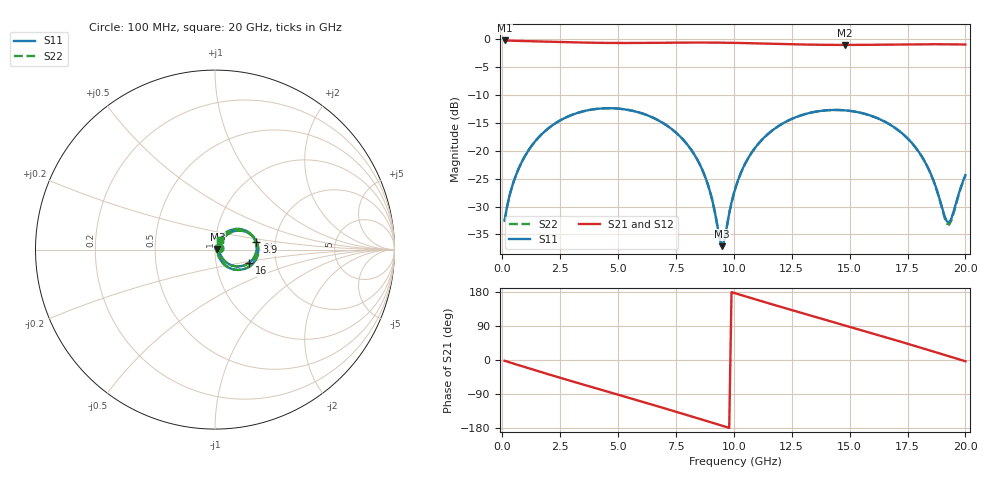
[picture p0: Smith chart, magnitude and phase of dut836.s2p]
! Touchstone file exported from HFSS 2026.1.0
!  File:  C:/ffzhzh/LocalFiles/Ansys_Project_Files/temp_train_TSV_RDL_836_1783267601_38820.aedt
!  Generated:  12:18:27 AM Jul  6, 2026
!  Design:  TSV_RDL
!  Project:  temp_train_TSV_RDL_836_1783267601_38820
! Variables:
!  h_bsmrdl = 4.94um
!  h_ox = 20um
!  h_rdl = 5um
!  h_sub = 81.69um
!  h_tmrdl = 3.7um
!  h_tsv = 81.69um
!  h_via = 3um
!  l_bsmrdl = 953.35um
!  l_sub = 6145.84um
!  l_tmrdl = 684.66um
!  m_sub = 200um
!  pitch = 36.29um
!  r_tsv = 12.14um
!  s_tmrdl = 10um
!  w_bsmrdl = 23.74um
!  w_sub = 500um
!  w_tmrdl = 25.31um
!  x_tsv_center1 = 697.315um
!  x_tsv_center2 = 1674.405um
!  x_tsv_center3 = 2384.375um
!  x_tsv_center4 = 3361.465um
!  x_tsv_center5 = 4071.435um
!  x_tsv_center6 = 5048.525um
# GHz S MA R 50.000000
! Terminal data exported
! Port[1] = TM_RDL1_1_T1
! Port[2] = TM_RDL5_1_T1
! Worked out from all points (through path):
!   200 points, 100 MHz to 20 GHz, reference 50 ohm
!   highest |S21| = -0.18 dB at 100 MHz (marker M1); lowest = -1.0 dB at 14.8 GHz (marker M2)
!   group delay of S21, straight-line fit = 50.2 ps
!   lowest |S11| = -37.1 dB at 9.5 GHz (marker M3), VSWR 1.03, Z = 51.4 + j0.0605 ohm
!   |S11| at or under -10 dB: start of sweep to end of sweep
!   |S22| runs from -37.1 to -12.3 dB; largest |S21 - S12| = 1.3e-13
!   S11 on the Smith chart (normalised r, x): 100 MHz: 1.04, +0.02; 3.9 GHz: 1.59, +0.15; 16 GHz: 1.45, -0.22; 20 GHz: 1.05, +0.11
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0.1  0.02355 27.3  0.9794 -2.1  0.9794 -2.1  0.02355 27.3
! Gamma 0 0 0 0
! Port Impedance 50 0 50 0
0.5  0.05365 51.2  0.9727 -9.8  0.9727 -9.8  0.05364 51.2
1.2  0.106 51.2  0.9653 -22.9  0.9653 -22.9  0.106 51.2
2.2  0.1716 38.2  0.9528 -41.5  0.9528 -41.5  0.1716 38.2
3.5  0.2265 17.3  0.9375 -64.9  0.9375 -64.9  0.2265 17.3
3.9  0.2353 10.7  0.9342 -72.1  0.9342 -72.1  0.2353 10.7
5.4  0.2336 -14.1  0.9294 -98.6  0.9294 -98.6  0.2337 -14.1
6.8  0.1849 -37.1  0.9336 -123.7  0.9336 -123.7  0.185 -37.1
8.5  0.07763 -61.0  0.9382 -155.0  0.9382 -155.0  0.0777 -61.0
9  0.04089 -60.3  0.9374 -164.2  0.9374 -164.2  0.04097 -60.2
9.5  0.01393 2.4  0.9353 -173.5  0.9353 -173.5  0.01403 2.2
10.1  0.04859 63.6  0.9311 175.3  0.9311 175.3  0.04859 63.4
10.6  0.08452 61.9  0.9265 166.1  0.9265 166.1  0.08451 61.8
11.3  0.1311 53.1  0.9187 153.3  0.9187 153.3  0.1311 53.0
13.4  0.2218 20.3  0.8975 115.9  0.8975 115.9  0.2219 20.2
14.8  0.2308 -2.1  0.8929 91.3  0.8929 91.3  0.2309 -2.2
16  0.2039 -21.1  0.896 70.1  0.896 70.1  0.2039 -21.2
16.7  0.1742 -31.8  0.8995 57.5  0.8995 57.5  0.1743 -32.0
18.2  0.0833 -49.4  0.9055 30.1  0.9055 30.1  0.08323 -50.0
19.2  0.0232 -5.4  0.9047 11.6  0.9047 11.6  0.02225 -6.4
19.4  0.02489 28.3  0.904 7.8  0.904 7.8  0.02388 28.9
20  0.06056 61.2  0.9005 -3.3  0.9005 -3.3  0.06 62.1
